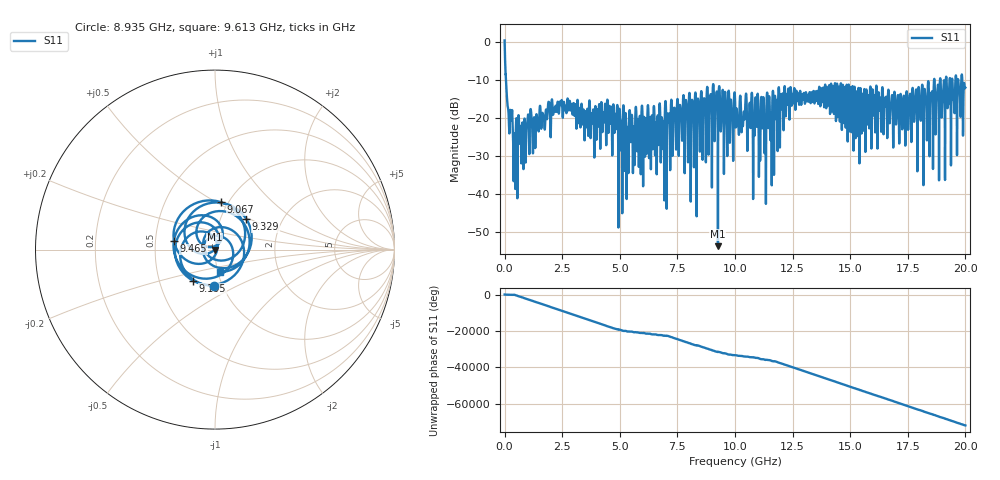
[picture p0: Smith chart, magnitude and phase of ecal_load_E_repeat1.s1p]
! MS46122B
! 2250307/22442219
! 7/26/2025 10:29:32 AM
! C:\USERS\SPARKY\DOCUMENTS\VNA_DATA\JULY26_2025\295K\ECAL_LOAD_E_REPEAT1.S1P
! CHANNEL.1
! TR.MEASUREMENT
! RAW.DATA
# GHZ S RI R 50.0
! FREQ.GHZ  S11RE  S11IM
!; PortSelection: Port_1
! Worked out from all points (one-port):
!   10001 points, 1 MHz to 20 GHz, reference 50 ohm
!   lowest |S11| = -53.6 dB at 9.261 GHz (marker M1), VSWR 1.00, Z = 49.8 - j0.0557 ohm
!   |S11| at or under -10 dB: 60.06 MHz to 18.64 GHz (18.58 GHz wide, 199 % of centre); 18.66 GHz to 18.9 GHz (238.3 MHz wide, 1.27 % of centre); 18.92 GHz to 19.15 GHz (230.9 MHz wide, 1.21 % of centre) (the widest 3 of 9)
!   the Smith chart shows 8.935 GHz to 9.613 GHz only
!   S11 on the Smith chart (normalised r, x): 8.935 GHz: 0.91, -0.38; 9.067 GHz: 0.93, +0.53; 9.195 GHz: 0.74, -0.27; 9.329 GHz: 1.32, +0.48; 9.465 GHz: 0.62, +0.06; 9.613 GHz: 1.03, -0.26
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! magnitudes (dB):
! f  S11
! 1 MHz  0.4
! 145 MHz  -17.2
! 469 MHz  -34.7
! 1.077 GHz  -28.7
! 1.273 GHz  -20.2
! 2.501 GHz  -16.8
! 3.815 GHz  -21.0
! 4.541 GHz  -17.2
! 5.001 GHz  -18.4
! 5.293 GHz  -33.1
! 6.731 GHz  -16.1
! 6.855 GHz  -27.9
! 7.501 GHz  -15.0
! 8.935 GHz  -13.9
! 9.067 GHz  -11.5
! 9.195 GHz  -13.5
! 9.261 GHz  -53.6
! 9.329 GHz  -12.2
! 9.465 GHz  -12.6
! 9.613 GHz  -17.9
! 10 GHz  -14.8
! 10.86 GHz  -20.0
! 10.92 GHz  -19.2
! 11.11 GHz  -19.5
! 12.5 GHz  -13.8
! 15 GHz  -14.3
! 17.5 GHz  -20.3
! 20 GHz  -12.0
